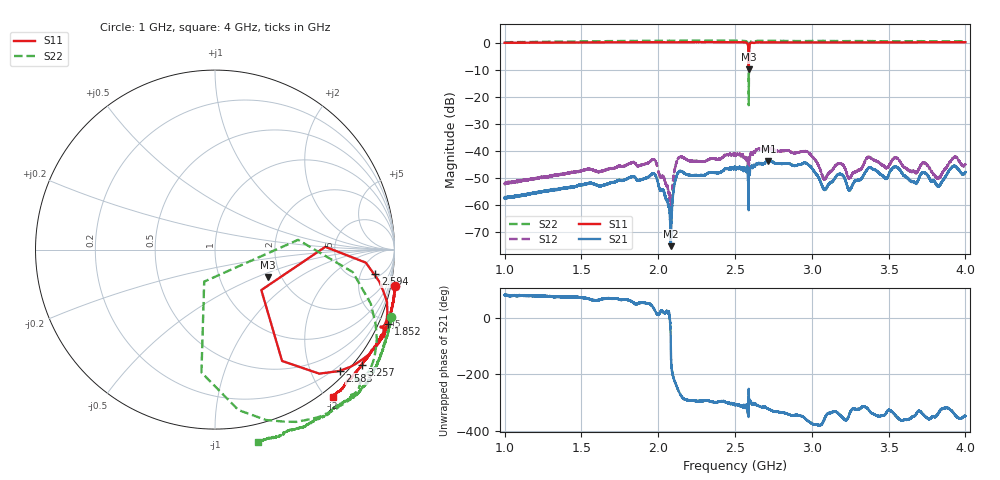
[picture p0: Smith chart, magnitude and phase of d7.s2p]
!Agilent Technologies,N5230C,SG49000117,A.08.50.07
!Agilent N5230C: A.08.50.07
!Date: Friday, May 17, 2024 22:53:39
!Correction: S11(Full 2 Port(1,2))
!S21(Full 2 Port(1,2))
!S12(Full 2 Port(1,2))
!S22(Full 2 Port(1,2))
!S2P File: Measurements: S11, S21, S12, S22:
# Hz S  MA  R 50
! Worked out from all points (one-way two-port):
!   20001 points, 1 GHz to 4 GHz, reference 50 ohm
!   highest |S21| = -43.67 dB at 2.718 GHz (marker M1); lowest = -75.4 dB at 2.083 GHz (marker M2)
!   lowest |S11| = -9.6 dB at 2.59 GHz (marker M3), VSWR 1.99, Z = 85.2 - j29.1 ohm
!   |S11| at or under -10 dB: nowhere
!   |S22| runs from -23.0 to 1.1 dB; largest |S21 - S12| = 0.0061
!   S11 on the Smith chart (normalised r, x): 1 GHz: -1.25, -9.74; 1.852 GHz: -0.59, -4.81; 2.583 GHz: 0.11, -2.47; 2.594 GHz: 6, -9; 3.257 GHz: -0.18, -2.88; 4 GHz: -0.13, -2.07
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1e9  1.026 -11.5  0.001321 81.3  0.002482 71.9  1.052 -20.8
1.5001e9  1.039 -19.0  0.002343 73.2  0.004244 58.9  1.087 -30.8
1.85245e9  1.05 -23.1  0.003166 49.7  0.005862 33.3  1.107 -36.6
2.00005e9  1.047 -24.6  0.00243 12.0  0.004312 -6.8  1.115 -39.5
2.08255e9  1.048 -25.2  0.0001706 -119.5  0.0003673 -139.0  1.117 -39.9
2.1391e9  1.05 -25.6  0.004177 93.6  0.007717 77.0  1.12 -40.4
2.5e9  1.051 -28.9  0.005022 49.8  0.009023 27.1  1.124 -48.1
2.5711e9  1.037 -34.2  0.004156 45.7  0.006979 19.1  1.1 -57.5
2.58325e9  0.9704 -44.1  0.003765 21.2  0.005453 -8.1  0.9955 -72.8
2.58955e9  0.33 -27.4  0.002744 101.4  0.003 97.8  0.09728 -90.1
2.5942e9  0.9033 -8.6  0.004062 58.6  0.007326 52.5  0.8682 -15.2
2.608e9  1.034 -22.6  0.005232 57.2  0.009357 39.2  1.091 -38.5
2.71765e9  1.045 -28.0  0.006551 36.7  0.01106 15.0  1.116 -47.4
3.0001e9  1.039 -32.9  0.00482 -14.8  0.007943 -38.7  1.106 -54.3
3.08095e9  1.038 -34.3  0.001907 -0.1  0.003019 -25.7  1.112 -55.9
3.18085e9  1.038 -36.5  0.003727 16.4  0.005867 -10.5  1.104 -58.9
3.2569e9  1.039 -38.2  0.002088 32.9  0.003405 3.9  1.104 -61.2
3.36745e9  1.04 -40.4  0.004798 35.9  0.007693 6.0  1.105 -63.6
3.50005e9  1.041 -42.5  0.003588 33.1  0.005136 0.3  1.09 -67.3
3.8218e9  1.051 -48.4  0.002202 20.4  0.0031 -8.4  1.094 -74.8
3.92695e9  1.046 -50.4  0.00523 19.9  0.007649 -5.5  1.095 -76.8
4e9  1.052 -51.4  0.004058 11.8  0.005732 -17.4  1.1 -77.3
